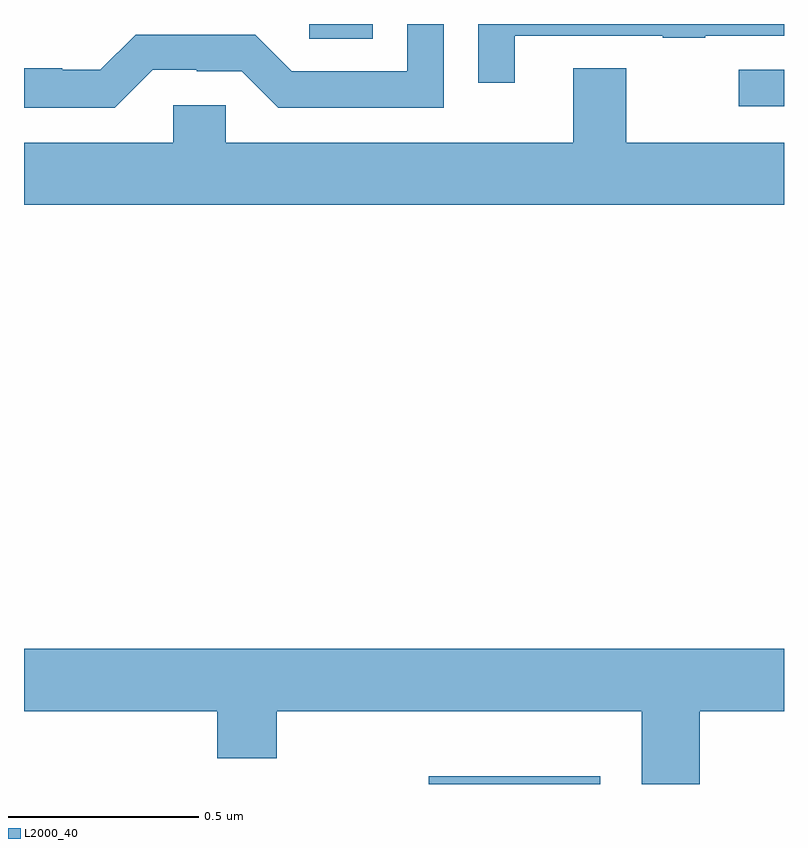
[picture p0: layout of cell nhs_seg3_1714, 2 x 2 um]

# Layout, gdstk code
import gdstk
lib = gdstk.Library(unit=1e-6, precision=1e-09)
def R(c, l, rs):  # rectangles x0, y0, x1, y1
    for r in rs: c.add(gdstk.rectangle(r[:2], r[2:], *l))
def P(c, l, *ps):  # polygons
    for p in ps: c.add(gdstk.Polygon(p, *l))
L2000_40 = (2000, 40)

nhs_seg3_1714 = lib.new_cell('nhs_seg3_1714')
R(nhs_seg3_1714, L2000_40, [(133.065,691.4,133.516,691.42), (133.881,693.183,134,693.279), (132.75,693.361,132.918,693.4)])
P(nhs_seg3_1714, L2000_40, [(133.291,693.369),(133.681,693.369),(133.681,693.364),(133.793,693.364),(133.793,693.369),(134,693.369),(134,693.4),(133.195,693.4),(133.195,693.246),(133.291,693.246)],
  [(132.339,693.279),(132.455,693.279),(132.455,693.276),(132.573,693.276),(132.669,693.18),(133.104,693.18),(133.104,693.4),(133.008,693.4),(133.008,693.276),(132.705,693.276),(132.609,693.372),(132.294,693.372),(132.201,693.279),(132.101,693.279),(132.101,693.283),(132,693.283),(132,693.179),(132.239,693.179)],
  [(134,693.088),(133.585,693.088),(133.585,693.283),(133.445,693.283),(133.445,693.088),(132.531,693.088),(132.531,693.186),(132.393,693.186),(132.393,693.088),(132,693.088),(132,692.924),(134,692.924)],
  [(133.778,691.592),(134,691.592),(134,691.756),(132,691.756),(132,691.592),(132.509,691.592),(132.509,691.468),(132.665,691.468),(132.665,691.592),(133.625,691.592),(133.625,691.4),(133.778,691.4)])

lib.write_gds('nhs_seg3_1714.gds')
